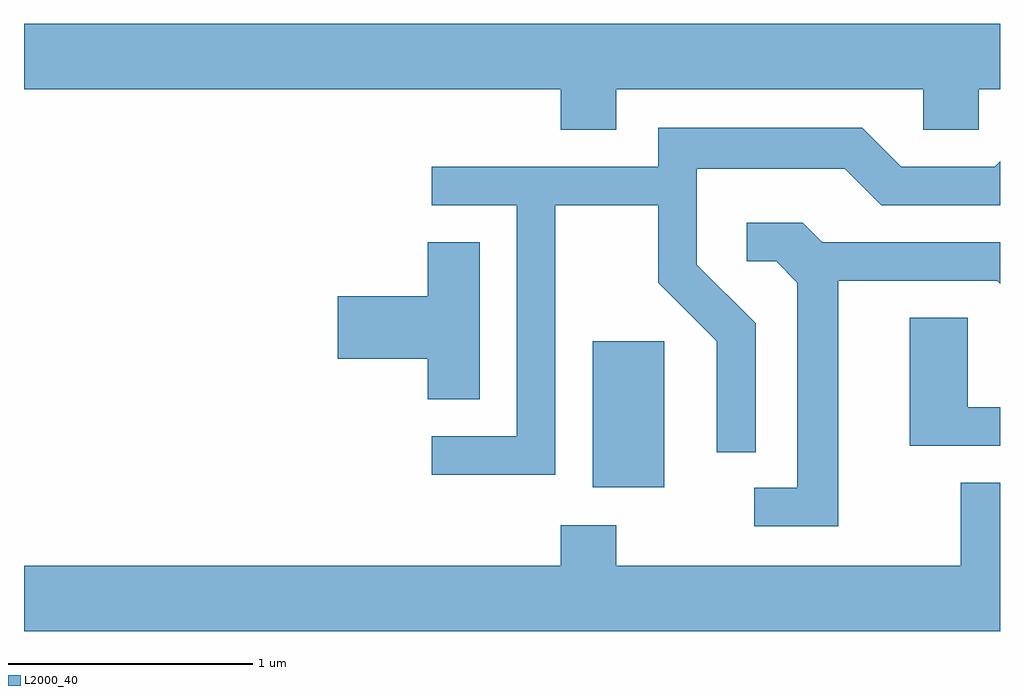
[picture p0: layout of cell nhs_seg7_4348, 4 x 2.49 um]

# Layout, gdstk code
import gdstk
lib = gdstk.Library(unit=1e-6, precision=1e-09)
def R(c, l, rs):  # rectangles x0, y0, x1, y1
    for r in rs: c.add(gdstk.rectangle(r[:2], r[2:], *l))
def P(c, l, *ps):  # polygons
    for p in ps: c.add(gdstk.Polygon(p, *l))
L2000_40 = (2000, 40)

nhs_seg7_4348 = lib.new_cell('nhs_seg7_4348')
R(nhs_seg7_4348, L2000_40, [(319.941,1801.486,320.234,1802.084)])
P(nhs_seg7_4348, L2000_40, [(320.039,1803.116),(321.296,1803.116),(321.296,1802.951),(321.524,1802.951),(321.524,1803.116),(321.611,1803.116),(321.611,1803.384),(317.611,1803.384),(317.611,1803.116),(319.811,1803.116),(319.811,1802.951),(320.039,1802.951)],
  [(319.789,1802.641),(320.211,1802.641),(320.211,1802.324),(320.451,1802.084),(320.451,1801.628),(320.609,1801.628),(320.609,1802.157),(320.369,1802.397),(320.369,1802.791),(320.974,1802.791),(321.124,1802.641),(321.611,1802.641),(321.611,1802.821),(321.589,1802.799),(321.207,1802.799),(321.047,1802.959),(320.211,1802.959),(320.211,1802.799),(319.283,1802.799),(319.283,1802.641),(319.631,1802.641),(319.631,1801.694),(319.283,1801.694),(319.283,1801.536),(319.789,1801.536)],
  [(320.949,1802.331),(321.599,1802.331),(321.611,1802.319),(321.611,1802.489),(320.882,1802.489),(320.802,1802.569),(320.573,1802.569),(320.573,1802.411),(320.694,1802.411),(320.781,1802.324),(320.781,1801.484),(320.603,1801.484),(320.603,1801.326),(320.949,1801.326)],
  [(319.479,1802.489),(319.266,1802.489),(319.266,1802.269),(318.896,1802.269),(318.896,1802.011),(319.266,1802.011),(319.266,1801.846),(319.479,1801.846)],
  [(321.611,1801.814),(321.479,1801.814),(321.479,1802.179),(321.241,1802.179),(321.241,1801.656),(321.611,1801.656)],
  [(321.611,1801.504),(321.451,1801.504),(321.451,1801.164),(320.039,1801.164),(320.039,1801.329),(319.811,1801.329),(319.811,1801.164),(317.611,1801.164),(317.611,1800.896),(321.611,1800.896)])

lib.write_gds('nhs_seg7_4348.gds')
